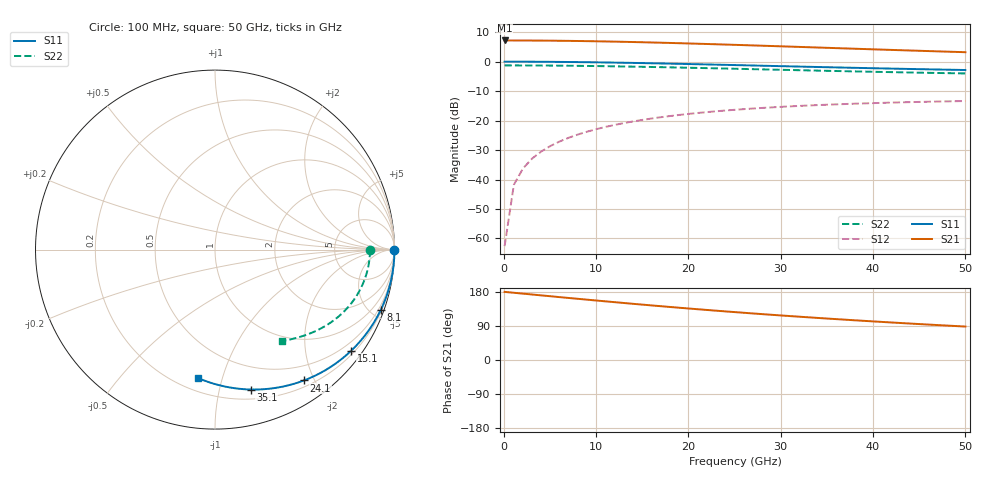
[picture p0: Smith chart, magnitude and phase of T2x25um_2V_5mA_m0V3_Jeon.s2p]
! AWR Design Environment (5953) Thu Nov 01 17:04:51 2012
! Ports: 2, Freqs: 51
# GHz S MA R 10
!Freq  MagS11  AngS11  MagS21  AngS21  MagS12  AngS12  MagS22  AngS22
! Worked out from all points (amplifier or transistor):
!   51 points, 100 MHz to 50 GHz, reference 10 ohm
!   highest |S21| = 7.2 dB at 100 MHz (marker M1)
!   |S21| within 3 dB of that: start of sweep to 39.92 GHz
!   unconditionally stable (mu >= 1): nowhere
!   at 8.1 GHz: K = 0.11, MSG = 15.8 dB, |S12| = -24.7 dB
!   at 25.1 GHz: K = 0.34, MSG = 11.0 dB, |S12| = -16.3 dB
!   at 50 GHz: K = 0.65, MSG = 8.3 dB, |S12| = -13.4 dB
!   lowest NFmin = 0.00 dB at 100 MHz
!   S11 on the Smith chart (normalised r, x): 100 MHz: open; 8.1 GHz: 0.29, -5.63; 15.1 GHz: 0.28, -3.00; 24.1 GHz: 0.28, -1.86; 35.1 GHz: 0.28, -1.25; 50 GHz: 0.28, -0.84
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0.1  0.9999 -0.3  2.289 179.8  0.0007393 89.8  0.8636 -0.1
1.1  0.9996 -2.8  2.289 177.4  0.008129 88.1  0.8633 -1.6
2.1  0.9987 -5.3  2.286 175.1  0.0155 86.4  0.8625 -3.1
3.1  0.9973 -7.8  2.282 172.8  0.02284 84.6  0.8613 -4.6
4.1  0.9954 -10.3  2.277 170.5  0.03012 82.9  0.8597 -6.0
5.1  0.9929 -12.7  2.27 168.2  0.03734 81.2  0.8576 -7.5
6.1  0.99 -15.2  2.261 165.8  0.04448 79.5  0.8551 -9.0
8.1  0.9827 -20.1  2.241 161.3  0.05847 76.1  0.8489 -11.8
9.1  0.9784 -22.5  2.228 159.0  0.06529 74.5  0.8452 -13.2
12.1  0.9631 -29.7  2.185 152.4  0.08493 69.6  0.8323 -17.4
15.1  0.9451 -36.6  2.133 146.0  0.1032 64.9  0.817 -21.3
17.1  0.9319 -41.1  2.095 141.8  0.1145 61.9  0.8058 -23.8
20.1  0.9109 -47.5  2.034 135.8  0.1301 57.7  0.788 -27.5
24.1  0.8818 -55.7  1.949 128.1  0.1486 52.3  0.7634 -32.0
25.1  0.8744 -57.7  1.927 126.3  0.1527 51.1  0.7573 -33.0
29.1  0.8454 -65.3  1.841 119.2  0.1679 46.2  0.7329 -37.1
34.1  0.8109 -74.1  1.736 110.9  0.1835 40.8  0.7041 -41.7
35.1  0.8043 -75.7  1.715 109.3  0.1862 39.8  0.6986 -42.6
39.1  0.7792 -82.1  1.636 103.2  0.1959 35.9  0.6778 -45.9
42.1  0.7617 -86.7  1.58 98.9  0.2021 33.2  0.6634 -48.3
46.1  0.7403 -92.4  1.51 93.4  0.2091 29.9  0.646 -51.2
50  0.7216 -97.6  1.447 88.3  0.2147 26.9  0.6309 -53.9
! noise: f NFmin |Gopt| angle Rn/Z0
0.1  0.004409  0.9986  0.1491  0.6992
5.1  0.2123  0.9321  7.602  0.6974
11.1  0.4569  0.8591  16.54  0.6908
16.1  0.6559  0.8042  23.98  0.6818
22.1  0.888  0.7453  32.9  0.6669
27.1  1.075  0.702  40.29  0.6514
33.1  1.293  0.6568  49.11  0.6297
38.1  1.467  0.6244  56.4  0.6093
44.1  1.669  0.5913  65.02  0.5826
50  1.858  0.5645  73.34  0.5546
